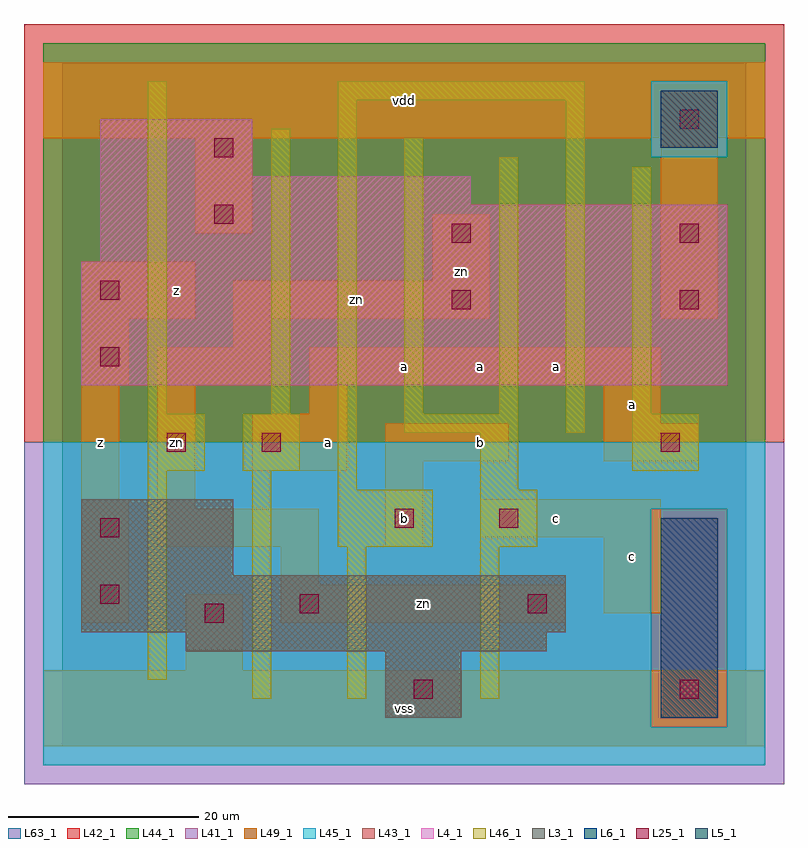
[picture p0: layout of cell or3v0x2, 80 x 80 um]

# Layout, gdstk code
import gdstk
lib = gdstk.Library(unit=1e-6, precision=1e-09)
def R(c, l, rs):  # rectangles x0, y0, x1, y1
    for r in rs: c.add(gdstk.rectangle(r[:2], r[2:], *l))
L3_1 = (3, 1)
L4_1 = (4, 1)
L5_1 = (5, 1)
L6_1 = (6, 1)
L25_1 = (25, 1)
L41_1 = (41, 1)
L42_1 = (42, 1)
L43_1 = (43, 1)
L44_1 = (44, 1)
L45_1 = (45, 1)
L46_1 = (46, 1)
L49_1 = (49, 1)
L63_1 = (63, 1)

or3v0x2 = lib.new_cell('or3v0x2')
R(or3v0x2, L3_1, [(34,3,42,10), (13,10,51,12), (2,12,53,18), (2,18,18,26)])
R(or3v0x2, L4_1, [(2,38,70,51), (4,51,70,57), (4,57,43,60), (4,60,20,66)])
R(or3v0x2, L5_1, [(63,63,69,69)])
R(or3v0x2, L6_1, [(63,3,69,24), (63,3,69,24)])
R(or3v0x2, L25_1, [(37,5,39,7), (65,5,67,7), (15,13,17,15), (25,14,27,16), (49,14,51,16), (4,15,6,17), (4,22,6,24), (35,23,37,25), (46,23,48,25), (11,31,13,33), (21,31,23,33), (63,31,65,33), (4,40,6,42), (41,46,43,48), (65,46,67,48), (4,47,6,49), (41,53,43,55), (65,53,67,55), (16,55,18,57), (16,62,18,64), (65,65,67,67)])
R(or3v0x2, L41_1, [(-4,-4,76,32)])
R(or3v0x2, L42_1, [(-4,32,76,76)])
R(or3v0x2, L43_1, [(34,3,42,10), (63,3,69,24), (13,10,51,12), (2,12,53,18), (2,18,18,26), (2,38,70,51), (4,51,70,57), (4,57,43,60), (4,60,20,66), (63,63,69,69)])
R(or3v0x2, L44_1, [(62,2,70,25), (-2,32,74,62), (-2,62,62,70), (70,62,74,70), (-2,70,74,74)])
R(or3v0x2, L45_1, [(-2,-2,74,2), (-2,2,62,25), (70,2,74,25), (-2,25,74,32), (62,62,70,70)])
R(or3v0x2, L46_1, [(20,5,22,29), (30,5,32,21), (44,5,46,21), (9,7,11,29), (29,21,39,27), (44,21,50,27), (29,27,31,68), (44,27,48,33), (9,29,15,35), (19,29,25,35), (60,29,67,35), (36,33,48,35), (53,33,55,68), (9,35,11,70), (22,35,24,65), (36,35,38,64), (46,35,48,62), (60,35,62,61), (29,68,55,70)])
R(or3v0x2, L49_1, [(-2,0,74,8), (13,8,19,16), (2,13,7,26), (23,13,53,17), (57,14,63,22), (23,17,27,21), (10,21,27,25), (34,21,38,30), (44,22,63,26), (10,25,14,38), (2,26,6,38), (20,29,30,35), (34,30,47,34), (57,30,67,34), (57,34,63,38), (26,35,30,38), (2,38,7,45), (10,38,22,42), (26,38,63,42), (18,42,22,45), (2,45,14,51), (18,45,45,49), (63,45,69,64), (39,49,45,56), (14,54,20,64), (-2,64,74,72)])
R(or3v0x2, L63_1, [(0,0,72,72)])
or3v0x2.add(gdstk.Label('zn', (12,32), layer=49, texttype=1))
or3v0x2.add(gdstk.Label('z', (4,32), layer=49, texttype=1))
or3v0x2.add(gdstk.Label('zn', (12,31), layer=49, texttype=1))
or3v0x2.add(gdstk.Label('z', (12,48), layer=49, texttype=1))
or3v0x2.add(gdstk.Label('a', (28,32), layer=49, texttype=1))
or3v0x2.add(gdstk.Label('vss', (36,4), layer=49, texttype=1))
or3v0x2.add(gdstk.Label('zn', (38,15), layer=49, texttype=1))
or3v0x2.add(gdstk.Label('b', (36,24), layer=49, texttype=1))
or3v0x2.add(gdstk.Label('b', (44,32), layer=49, texttype=1))
or3v0x2.add(gdstk.Label('c', (52,24), layer=49, texttype=1))
or3v0x2.add(gdstk.Label('a', (44,40), layer=49, texttype=1))
or3v0x2.add(gdstk.Label('a', (52,40), layer=49, texttype=1))
or3v0x2.add(gdstk.Label('a', (36,40), layer=49, texttype=1))
or3v0x2.add(gdstk.Label('zn', (31,47), layer=49, texttype=1))
or3v0x2.add(gdstk.Label('zn', (42,50), layer=49, texttype=1))
or3v0x2.add(gdstk.Label('vdd', (36,68), layer=49, texttype=1))
or3v0x2.add(gdstk.Label('c', (60,20), layer=49, texttype=1))
or3v0x2.add(gdstk.Label('a', (60,36), layer=49, texttype=1))

lib.write_gds('or3v0x2.gds')
